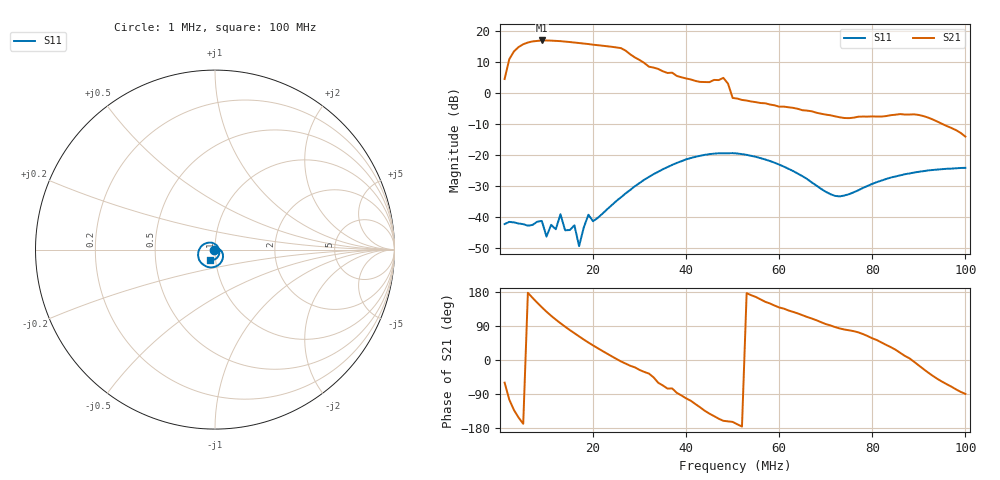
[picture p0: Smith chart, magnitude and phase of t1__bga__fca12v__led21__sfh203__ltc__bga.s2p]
# HZ S RI R 50
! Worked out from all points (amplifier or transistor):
!   100 points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, 1 MHz to 100 MHz, reference 50 ohm
!   highest |S21| = 16.9 dB at 9 MHz (marker M1)
!   |S21| within 3 dB of that: 3.382 MHz to 26.65 MHz (23.27 MHz wide, 155 % of centre)
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1000001  -0.00769 0.000115  0.8399 -1.443  0 0  0 0
2000001  -0.00828 0.000971  -0.8665 -3.366  0 0  0 0
3000001  -0.00813 0.000802  -3.094 -3.461  0 0  0 0
4000001  -0.00776 0.00127  -4.819 -2.572  0 0  0 0
5000001  -0.00737 0.00208  -5.939 -1.221  0 0  0 0
7000001  -0.00694 0.00267  -6.477 1.848  0 0  0 0
9000001  -0.00658 0.00557  -5.278 4.565  0 0  0 0
1.1e7  -0.00516 0.0054  -3.113 6.199  0 0  0 0
1.3e7  -0.00757 0.00808  -0.8408 6.752  0 0  0 0
1.5e7  -0.00261 0.00558  1.244 6.465  0 0  0 0
1.7e7  -0.00177 0.00288  2.944 5.615  0 0  0 0
1.8e7  0.00101 0.00666  3.653 5.035  0 0  0 0
2.2e7  0.00843 0.00745  5.248 2.337  0 0  0 0
2.6e7  0.0203 0.00423  5.237 -0.3438  0 0  0 0
2.8e7  0.0273 1.56e-05  4.021 -1.097  0 0  0 0
3.4e7  0.044 -0.0304  1.212 -2.101  0 0  0 0
4e7  0.0256 -0.0807  -0.331 -1.671  0 0  0 0
4.8e7  -0.0623 -0.0856  -1.642 -0.5821  0 0  0 0
5.1e7  -0.088 -0.058  -0.7951 -0.1443  0 0  0 0
6.7e7  -0.00804 0.0351  -0.1675 0.4755  0 0  0 0
8.4e7  0.0158 -0.0402  0.363 0.2425  0 0  0 0
1e8  -0.0257 -0.0563  0.00204 -0.197  0 0  0 0
